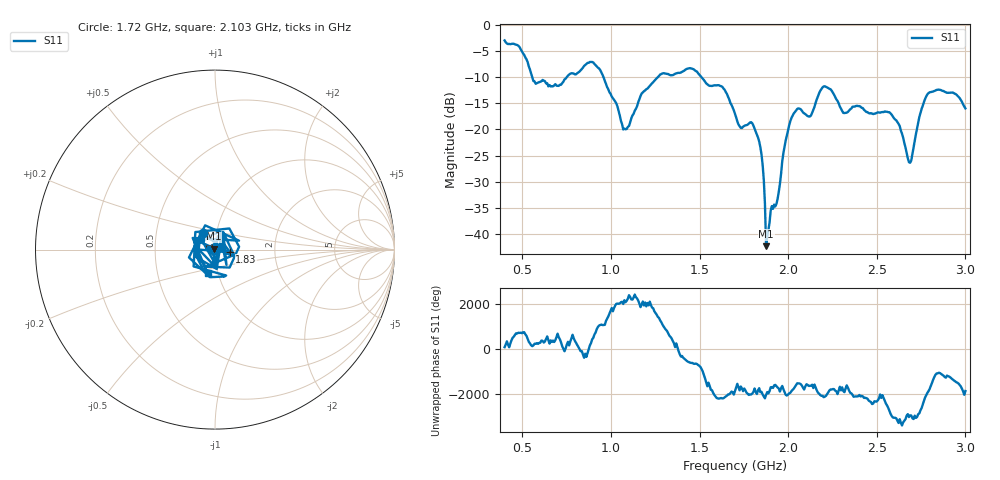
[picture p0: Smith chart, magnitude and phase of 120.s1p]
!Created with skrf (http://scikit-rf.org).
# Hz S RI R 50.0
!freq ReS11 ImS11
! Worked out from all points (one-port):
!   401 points, 400 MHz to 3 GHz, reference 50 ohm
!   lowest |S11| = -42.4 dB at 1.875 GHz (marker M1), VSWR 1.02, Z = 49.4 + j0.43 ohm
!   |S11| at or under -10 dB: 555.9 MHz to 750 MHz (194.1 MHz wide, 29.7 % of centre); 958.3 MHz to 1.264 GHz (306 MHz wide, 27.5 % of centre); 1.511 GHz to end of sweep
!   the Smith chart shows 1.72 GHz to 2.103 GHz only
!   S11 on the Smith chart (normalised r, x): 1.72 GHz: 0.86, +0.16; 1.83 GHz: 1.18, -0.03; 2.103 GHz: 0.89, -0.24
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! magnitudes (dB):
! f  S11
! 400 MHz  -2.9
! 484.5 MHz  -4.2
! 575.5 MHz  -11.2
! 725 MHz  -11.1
! 900.5 MHz  -7.2
! 1.05 GHz  -17.4
! 1.089 GHz  -19.9
! 1.187 GHz  -12.7
! 1.375 GHz  -9.2
! 1.622 GHz  -11.7
! 1.7 GHz  -17.0
! 1.72 GHz  -19.0
! 1.83 GHz  -21.6
! 1.849 GHz  -24.8
! 1.875 GHz  -42.4
! 1.889 GHz  -39.3
! 1.94 GHz  -33.3
! 1.98 GHz  -23.3
! 2.025 GHz  -17.4
! 2.103 GHz  -17.2
! 2.207 GHz  -11.7
! 2.35 GHz  -16.1
! 2.571 GHz  -16.7
! 2.63 GHz  -19.3
! 2.675 GHz  -25.5
! 2.695 GHz  -26.0
! 2.792 GHz  -13.0
! 3 GHz  -16.0
